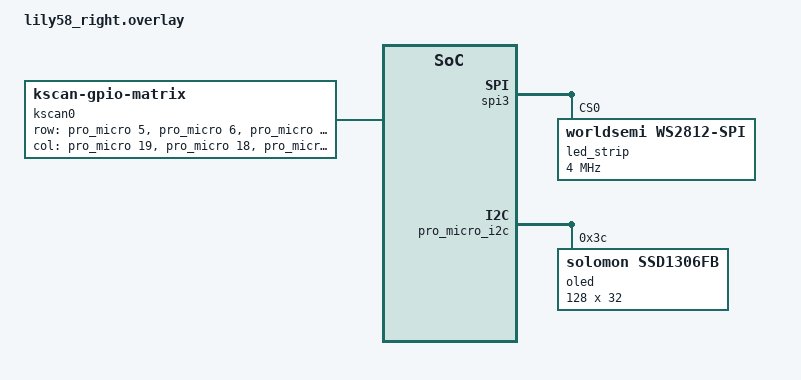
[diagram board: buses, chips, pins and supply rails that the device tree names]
#include "lily58-layouts.dtsi"

/ {
    chosen {
        zephyr,display = &oled;
        zmk,kscan = &kscan0;
    };

    kscan0: kscan {
        compatible = "zmk,kscan-gpio-matrix";
        diode-direction = "col2row";
        wakeup-source;
        row-gpios = <
            <&pro_micro 5 (GPIO_ACTIVE_HIGH | GPIO_PULL_DOWN)>
            , <&pro_micro 6 (GPIO_ACTIVE_HIGH | GPIO_PULL_DOWN)>
            , <&pro_micro 7 (GPIO_ACTIVE_HIGH | GPIO_PULL_DOWN)>
            , <&pro_micro 8 (GPIO_ACTIVE_HIGH | GPIO_PULL_DOWN)>
            , <&pro_micro 9 (GPIO_ACTIVE_HIGH | GPIO_PULL_DOWN)>
        >;
        col-gpios = <
            <&pro_micro 19 GPIO_ACTIVE_HIGH>
            , <&pro_micro 18 GPIO_ACTIVE_HIGH>
            , <&pro_micro 15 GPIO_ACTIVE_HIGH>
            , <&pro_micro 14 GPIO_ACTIVE_HIGH>
            , <&pro_micro 16 GPIO_ACTIVE_HIGH>
            , <&pro_micro 10 GPIO_ACTIVE_HIGH>
        >;
    };

    spi3 {
        status = "okay";

        led_strip: ws2812@0 {
            compatible = "worldsemi,ws2812-spi";
            reg = <0>;
            spi-max-frequency = <4000000>;
            chain-length = <35>;
            spi-one-frame = <0x70>;
            spi-zero-frame = <0x40>;
            color-mapping = <LED_COLOR_ID_GREEN LED_COLOR_ID_RED LED_COLOR_ID_BLUE>;
        };
    };

    pro_micro_i2c: i2c0 {
        status = "okay";

        oled: ssd1306@3c {
            compatible = "solomon,ssd1306fb";
            reg = <0x3c>;
            width = <128>;
            height = <32>;
            multiplex-ratio = <31>;
            inversion-on;
            prechargep = <0x22>;
        };
    };

    chosen {
        zmk,underglow = &led_strip;
    };
};
